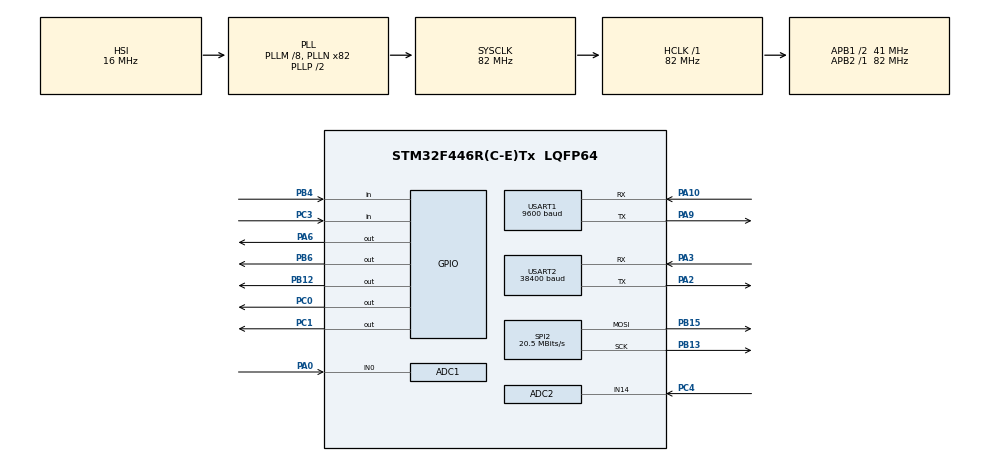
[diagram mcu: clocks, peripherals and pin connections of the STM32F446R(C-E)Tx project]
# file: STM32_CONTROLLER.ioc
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ADC1.Channel-1\#ChannelRegularConversion=ADC_CHANNEL_0
ADC1.NbrOfConversionFlag=1
ADC1.Rank-1\#ChannelRegularConversion=1
ADC1.SamplingTime-1\#ChannelRegularConversion=ADC_SAMPLETIME_3CYCLES
ADC1.master=1
ADC2.Channel-1\#ChannelRegularConversion=ADC_CHANNEL_14
ADC2.NbrOfConversionFlag=1
ADC2.Rank-1\#ChannelRegularConversion=1
ADC2.SamplingTime-1\#ChannelRegularConversion=ADC_SAMPLETIME_3CYCLES
Dma.Request0=USART1_RX
Dma.USART1_RX.0.Direction=DMA_PERIPH_TO_MEMORY
Dma.USART1_RX.0.FIFOMode=DMA_FIFOMODE_DISABLE
Dma.USART1_RX.0.Instance=DMA2_Stream2
Dma.USART1_RX.0.MemDataAlignment=DMA_MDATAALIGN_BYTE
Dma.USART1_RX.0.MemInc=DMA_MINC_ENABLE
Dma.USART1_RX.0.Mode=DMA_NORMAL
Dma.USART1_RX.0.PeriphDataAlignment=DMA_PDATAALIGN_BYTE
Dma.USART1_RX.0.PeriphInc=DMA_PINC_DISABLE
Dma.USART1_RX.0.Priority=DMA_PRIORITY_LOW
Mcu.Family=STM32F4
Mcu.Name=STM32F446R(C-E)Tx
Mcu.Package=LQFP64
NVIC.DMA2_Stream2_IRQn=true\:0\:0\:false\:false\:true\:false\:true\:true
NVIC.PriorityGroup=NVIC_PRIORITYGROUP_4
NVIC.TIM1_UP_TIM10_IRQn=true\:0\:0\:false\:false\:true\:true\:true\:true
NVIC.TIM3_IRQn=true\:0\:0\:false\:false\:true\:true\:true\:true
NVIC.USART2_IRQn=true\:0\:0\:false\:false\:true\:true\:true\:true
PA0-WKUP.Signal=ADCx_IN0
PA10.Mode=Asynchronous
PA10.Signal=USART1_RX
PA2.Mode=Asynchronous
PA2.Signal=USART2_TX
PA3.Mode=Asynchronous
PA3.Signal=USART2_RX
PA6.Signal=GPIO_Output
PA9.Mode=Asynchronous
PA9.Signal=USART1_TX
PB12.Signal=GPIO_Output
PB13.Mode=TX_Only_Simplex_Unidirect_Master
PB13.Signal=SPI2_SCK
PB15.Mode=TX_Only_Simplex_Unidirect_Master
PB15.Signal=SPI2_MOSI
PB4.GPIO_PuPd=GPIO_PULLUP
PB4.Signal=GPIO_Input
PB6.Signal=GPIO_Output
PC0.Signal=GPIO_Output
PC1.Signal=GPIO_Output
PC3.GPIO_PuPd=GPIO_PULLUP
PC3.Signal=GPIO_Input
PC4.Signal=ADCx_IN14
ProjectManager.HeapSize=0x200
ProjectManager.StackSize=0x400
ProjectManager.TargetToolchain=STM32CubeIDE
RCC.AHBFreq_Value=82000000
RCC.APB1CLKDivider=RCC_HCLK_DIV2
RCC.APB1Freq_Value=41000000
RCC.APB1TimFreq_Value=82000000
RCC.APB2Freq_Value=82000000
RCC.APB2TimFreq_Value=82000000
RCC.CortexFreq_Value=82000000
RCC.HCLKFreq_Value=82000000
RCC.PLLM=8
RCC.PLLN=82
RCC.SYSCLKFreq_VALUE=82000000
RCC.SYSCLKSource=RCC_SYSCLKSOURCE_PLLCLK
RCC.USBFreq_Value=82000000
RCC.VCOOutputFreq_Value=164000000
SH.ADCx_IN0.0=ADC1_IN0,IN0
SH.ADCx_IN14.0=ADC2_IN14,IN14
SPI2.CLKPhase=SPI_PHASE_2EDGE
SPI2.CLKPolarity=SPI_POLARITY_HIGH
SPI2.CalculateBaudRate=20.5 MBits/s
SPI2.Direction=SPI_DIRECTION_2LINES
SPI2.Mode=SPI_MODE_MASTER
SPI2.VirtualType=VM_MASTER
TIM1.Period=5000
TIM1.Prescaler=8399
TIM3.Period=9999
TIM3.Prescaler=8399
USART1.BaudRate=9600
USART1.VirtualMode=VM_ASYNC
USART2.BaudRate=38400
USART2.VirtualMode=VM_ASYNC
VP_TIM1_VS_ClockSourceINT.Mode=Internal
VP_TIM3_VS_ClockSourceINT.Mode=Internal
board=custom

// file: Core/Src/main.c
/* USER CODE BEGIN Header */
/**
  ******************************************************************************
  * @file           : main.c
  * @brief          : Main program body
  ******************************************************************************
  * @attention
  *
  * Copyright (c) 2026 STMicroelectronics.
  * All rights reserved.
  *
  * This software is licensed under terms that can be found in the LICENSE file
  * in the root directory of this software component.
  * If no LICENSE file comes with this software, it is provided AS-IS.
  *
  ******************************************************************************
  */
/* USER CODE END Header */
#include "main.h"
#include "adc.h"
#include "dma.h"
#include "spi.h"
#include "tim.h"
#include "usart.h"
#include "gpio.h"
#include "string.h"

/* USER CODE BEGIN Includes */
#include "j_st7789.h"

/* USER CODE END Includes */

/* USER CODE BEGIN PM */
// Slave address 2025:08:004B82

/* USER CODE END PM */

/* USER CODE BEGIN PV */
// uint8_t rx_buf[1]; // Data we receive
// uint8_t tx_buf[1]; // Data to transmit
uint8_t pc_rx_buf[1];
uint8_t hc_rx_buf[1];

volatile union {
  float fnum;
  uint8_t bytes[7];
} FloatPacket; // Float bytes for distance
volatile float fnum_stored = 0;
volatile float sensor_val_stored = 10;
#define SENSOR_DAMP 0.4
#define EXP_SMOOTH(prev_val,new_val,damping_factor) (prev_val * (1-damping_factor) + new_val * (damping_factor));

volatile char metal_detect_flag = 0;
volatile char headlight_flag = 0;

volatile char bt_dat_avail = 0;
volatile char bt_timeout = 0;
volatile uint32_t hal_adc_val = 0; // X
volatile uint32_t hal_adc_val2 = 0; // Y

volatile uint32_t hal1_write_up_prev = 0;
volatile uint32_t hal2_write_up_prev = 0;
volatile uint32_t hal1_write_down_prev = 0;
volatile uint32_t hal2_write_down_prev = 0;
volatile uint8_t hal_combined[4] = {0,0,0,0}; // index 1 {Joystick Data} : index 2 {Headlight Data}
const uint8_t checksum_index = 2;

volatile char headlight_update_debounce = 0;

#define BT_BUF_SIZE 30
#define BG_COL J_BLACK
#define WATCHDOG_BG_COL J_RED

/* USER CODE END PV */

void SystemClock_Config(void);
/* USER CODE BEGIN PFP */

void Reset_DMA_Channel(UART_HandleTypeDef *huart, uint8_t *pData, uint8_t size) {
}

/**
 * @brief generate a checksum for the array given at the checksum index
 *
 * @param arr Array to be sifted through
 * @param chksum_ind index of checksum (must allow for 2 bytes of storage on an array), if less than 0, will not store any value on the array
 *
 */
uint16_t Checksum_Generate(uint8_t* arr, int chksum_ind) {
  // Using fletcher 16 algorithm
  uint8_t s1 = 0;
  uint8_t s2 = 0;
  char do_arr_replacement = 1;
  if(chksum_ind < 0) {
    chksum_ind = chksum_ind * -1;
    do_arr_replacement = 0;
  }
  for(int i = 0; i < chksum_ind; i++) {
    s1 += arr[i];
    s2 += s1;
  }
  if(do_arr_replacement) {
    arr[chksum_ind] = s2;
    arr[chksum_ind+1] = s1;
  }
  return ((uint16_t)s2 << 8) + (uint16_t)s1;
}

void Setup_Main_Screen() {
  set_bounds(0,239,0,239);
  set_bg_col(BG_COL);
  fill_area(get_bg_col());

  fill_text(120,90,"Distance (cm)",13,J_11X18_FONT,J_WHITE,J_CENTER);
}

void BT_Watchdog() {
  if(bt_timeout) {
    bt_dat_avail = 0;
    set_bounds(0,239,0,239);
    set_bg_col(WATCHDOG_BG_COL);
    fill_area(get_bg_col());

    fill_text(120,75,"WATCHDOG",-1,J_16X26_FONT,J_WHITE,J_CENTER);
    fill_text(120,102,"No Bluetooth Signal",-1,J_11X18_FONT,J_WHITE,J_CENTER);
    fill_text(120,125,"Attempting Reconnect...",-1,J_7X10_FONT,J_WHITE,J_CENTER);

    HAL_Delay(15);

    uint8_t rec_index1, rec_index2, rec_flag1, rec_flag2, x_pos, y_pos, width;
    rec_index2 = 0;
    rec_index1 = 1;
    rec_flag1 = 0;
    rec_flag2 = 0;
    x_pos = 100;
    y_pos = 165;
    width = 20;

    // 1. Completely abort the UART reception and reset its state machine to READY
    HAL_UART_AbortReceive(&huart1);

    // 2. Clear any lingering hardware errors caused by the disconnect/static
    __HAL_UART_CLEAR_OREFLAG(&huart1);
    __HAL_UART_CLEAR_FEFLAG(&huart1);
    __HAL_UART_CLEAR_NEFLAG(&huart1);

    HAL_UARTEx_ReceiveToIdle_DMA(&huart1, FloatPacket.bytes, sizeof(FloatPacket.bytes));
    __HAL_DMA_DISABLE_IT(huart1.hdmarx, DMA_IT_HT);

    while(!bt_dat_avail) {
      printf("WATCHDOG | Attempting reconnect...");
      // Wait until bluetooth data is received
      set_bounds(x_pos+rec_flag1*width,x_pos+width*(1+rec_flag1),y_pos+rec_flag2*width,y_pos+width*(1+rec_flag2)); // Loading bar
      fill_area(J_WHITE);
      // HAL_UART_Receive_DMA(&huart1,FloatPacket.bytes,4); // Receive ultrasonic data
      // HAL_UART_DMAStop(&huart1);
      // HAL_UART_Receive_DMA(&huart1,FloatPacket.bytes,sizeof(FloatPacket));
      HAL_UART_Transmit(&huart1,hal_combined,sizeof(hal_combined),100);

      HAL_Delay(50);

      fill_area(get_bg_col());
      rec_index1++;
      rec_index2++;
      if(rec_index1 >= 2) {
        rec_flag1 = !rec_flag1;
        rec_index1 %= 2;
      }
      if(rec_index2 >= 2) {
        rec_flag2 = !rec_flag2;
        rec_index2 %= 2;
      }
      if(huart1.RxState != HAL_UART_STATE_BUSY_RX) {
        HAL_UART_AbortReceive(&huart1);

        __HAL_UART_CLEAR_OREFLAG(&huart1);
        __HAL_UART_CLEAR_FEFLAG(&huart1);
        __HAL_UART_CLEAR_NEFLAG(&huart1);

        HAL_UARTEx_ReceiveToIdle_DMA(&huart1, FloatPacket.bytes, sizeof(FloatPacket.bytes));
        __HAL_DMA_DISABLE_IT(huart1.hdmarx, DMA_IT_HT);
      }
    }
    Setup_Main_Screen();
    if(hal_combined[1]) {
      fill_text(120,40,"Headlight:  ON",14,J_11X18_FONT,J_WHITE,J_CENTER);
    } else {
      fill_text(120,40,"Headlight: OFF",14,J_11X18_FONT,J_WHITE,J_CENTER);
    }

    // Make sure we are back in sync with data
    // HAL_UART_DMAStop(&huart1); // A timeout means unexpected drop in bt connection, we need to disable dma in case of data corruption
    // HAL_Delay(100);
    // memset(FloatPacket.bytes,0,6);
    // HAL_UART_Receive_DMA(&huart1,FloatPacket.bytes,sizeof(FloatPacket));

    __HAL_TIM_SET_COUNTER(&htim3,0); // Reset watchdog timer
    bt_timeout = 0;
  }
}

void HAL_TIM_PeriodElapsedCallback(TIM_HandleTypeDef *htim) {
  if(htim->Instance == TIM3) {
    bt_timeout = 1;
  } else if (htim->Instance == TIM1) {
    headlight_update_debounce = 0;
  }
}

int _write(int file, char *ptr, int len) {
  for(int i = 0; i < len; i++) {
    ITM_SendChar(*ptr++);
  }
  return len;
}
/* USER CODE END PFP */

int main(void)
{

  /* MCU Configuration--------------------------------------------------------*/

  /* Reset of all peripherals, Initializes the Flash interface and the Systick. */
  HAL_Init();

  /* Configure the system clock */
  SystemClock_Config();

  /* Initialize all configured peripherals */
  MX_GPIO_Init();
  MX_DMA_Init();
  MX_ADC2_Init();
  MX_USART1_UART_Init();
  MX_USART2_UART_Init();
  MX_ADC1_Init();
  MX_TIM3_Init();
  MX_SPI2_Init();
  MX_TIM1_Init();
  /* USER CODE BEGIN 2 */
  GPIO_InitTypeDef GPIO_InitStruct = {0};
  GPIO_InitStruct.Pin = GPIO_PIN_10;
  GPIO_InitStruct.Mode = GPIO_MODE_AF_PP;   // Alternate Function Push-Pull
  GPIO_InitStruct.Pull = GPIO_PULLUP;      // This prevents the "float"
  GPIO_InitStruct.Speed = GPIO_SPEED_FREQ_HIGH;
  GPIO_InitStruct.Alternate = GPIO_AF7_USART1; // AF7 is standard for UART on PA10
  HAL_GPIO_Init(GPIOA, &GPIO_InitStruct);
  // HAL_UART_Receive_IT(&huart2, pc_rx_buf, 1);
  // HAL_UART_Receive_IT(&huart1, hc_rx_buf, 1);

  // HAL_UART_Receive_DMA(&huart1,FloatPacket.bytes,sizeof(FloatPacket)); // Receive ultrasonic data

  HAL_UARTEx_ReceiveToIdle_DMA(&huart1,FloatPacket.bytes,sizeof(FloatPacket.bytes));
  __HAL_DMA_DISABLE_IT(huart1.hdmarx,DMA_IT_HT);

  uint8_t cmd_at[] = "AT\r\n";
  uint8_t cmd_role[] = "AT+ADDR?\r\n";  // Setting to Slave
  uint8_t rx_buffer[BT_BUF_SIZE] = {0};

  HAL_TIM_Base_Start_IT(&htim3); // 16-bit bluetooth watchdog timer (currently configured for 1s timeout)
  HAL_TIM_Base_Start_IT(&htim1); // Debounce for headlights

  /* USER CODE END 2 */

  /* Infinite loop */
  /* USER CODE BEGIN WHILE */
  init_lcd(J_270_DEG);
  Setup_Main_Screen();
  fill_text(120,40,"Headlight: OFF",14,J_11X18_FONT,J_WHITE,J_CENTER);

  j_counter my_counter = J_CREATE_COUNTER;

  HAL_GPIO_WritePin(GPIOB,GPIO_PIN_12,GPIO_PIN_SET);
  while (1)
  {
    // printf("Data received: [ ");
    // for(int i = 0; i < sizeof(FloatPacket.bytes); i++) {
    //   printf("%d ", FloatPacket.bytes[i]);
    // }
    // printf("]\n");
    /* USER CODE END WHILE */

    /* USER CODE BEGIN 3 */
    HAL_ADC_Start(&hadc1);
    HAL_ADC_PollForConversion(&hadc1,1000);
    hal_adc_val = HAL_ADC_GetValue(&hadc1);

    HAL_ADC_Start(&hadc2);
    HAL_ADC_PollForConversion(&hadc2,1000);
    hal_adc_val2 = HAL_ADC_GetValue(&hadc2);

    hal_adc_val = (hal_adc_val << 4) >> 12; // cnv from 12-bit to 4-bit
    hal_adc_val2 = (hal_adc_val2 << 4) >> 12;

    hal_combined[0] = ((hal_adc_val << 4) | (hal_adc_val2));

    //hal_combined[0] = 0xF0;

    if(!headlight_update_debounce) {
      if(!(HAL_GPIO_ReadPin(GPIOC,GPIO_PIN_3) && HAL_GPIO_ReadPin(GPIOB,GPIO_PIN_4))) {
        hal_combined[1] = !hal_combined[1]; // Toggle headlight
        headlight_update_debounce = 1;
      }
      __HAL_TIM_SET_COUNTER(&htim1,0);
      printf("HEADLIGHT VAL: %d\n\n", hal_combined[1]);
    }
    Checksum_Generate(hal_combined,sizeof(hal_combined)-2);

    if(headlight_flag) {
      if(!hal_combined[1]) {
        fill_text(120,40,"Headlight: OFF",14,J_11X18_FONT,J_WHITE,J_CENTER);
        headlight_flag = 0;
      }
    } else {
      if(hal_combined[1]) {
        fill_text(120,40,"Headlight:  ON",14,J_11X18_FONT,J_WHITE,J_CENTER);
        headlight_flag = 1;
      }
    }

    HAL_UART_Transmit(&huart1,hal_combined,sizeof(hal_combined),100);
    HAL_Delay(5); // important for IDLE line

    if(bt_dat_avail) {
      bt_dat_avail = 0;
      __HAL_TIM_SET_COUNTER(&htim3,0); // Reset watchdog timer
      // printf("Distance received: [%d %d %d %d] %lf\n",FloatPacket.bytes[0],
      // FloatPacket.bytes[1],
      // FloatPacket.bytes[2],
      // FloatPacket.bytes[3], FloatPacket.fnum);
      // printf("Data received: %lf", fnum_stored);
      // Writing to LCD
      // add_value_sensor(fnum_stored);
      sensor_val_stored = EXP_SMOOTH(sensor_val_stored,fnum_stored,SENSOR_DAMP);
      fill_counter(&my_counter,120,120,sensor_val_stored,J_16X26_FONT,J_WHITE,J_CENTER);

      // Check metal detector
      if(metal_detect_flag) {
        if(FloatPacket.bytes[4] == 0) {
          metal_detect_flag = 0;
          set_bounds(25,214,190,239);
          fill_area(get_bg_col());
        }
      } else {
        if(FloatPacket.bytes[4] == 1) {
          metal_detect_flag = 1;
          fill_text(120,200,"Metal Detected",14,J_11X18_FONT,J_WHITE,J_CENTER);
        }
      }

      int hal_adc_val1_write = (hal_adc_val*8)/7;
      fill_lbar_vert(5,234,hal_adc_val2,hal2_write_up_prev,15,10,230,J_WHITE);
      fill_lbar_vert(224,234,hal_adc_val1_write,hal1_write_up_prev,15,10,230,J_WHITE);
      hal1_write_up_prev = hal_adc_val1_write;
      hal2_write_up_prev = hal_adc_val2;

    }

    // printf("Joystick Vals: %d %d\nHeadlight Val: %d\n\n",hal_adc_val,hal_adc_val2,hal_combined[1]);

    HAL_Delay(10);

    BT_Watchdog();
  }
  /* USER CODE END 3 */
}

void SystemClock_Config(void)
{
  RCC_OscInitTypeDef RCC_OscInitStruct = {0};
  RCC_ClkInitTypeDef RCC_ClkInitStruct = {0};

  /** Configure the main internal regulator output voltage
  */
  __HAL_RCC_PWR_CLK_ENABLE();
  __HAL_PWR_VOLTAGESCALING_CONFIG(PWR_REGULATOR_VOLTAGE_SCALE3);

  /** Initializes the RCC Oscillators according to the specified parameters
  * in the RCC_OscInitTypeDef structure.
  */
  RCC_OscInitStruct.OscillatorType = RCC_OSCILLATORTYPE_HSI;
  RCC_OscInitStruct.HSIState = RCC_HSI_ON;
  RCC_OscInitStruct.HSICalibrationValue = RCC_HSICALIBRATION_DEFAULT;
  RCC_OscInitStruct.PLL.PLLState = RCC_PLL_ON;
  RCC_OscInitStruct.PLL.PLLSource = RCC_PLLSOURCE_HSI;
  RCC_OscInitStruct.PLL.PLLM = 8;
  RCC_OscInitStruct.PLL.PLLN = 82;
  RCC_OscInitStruct.PLL.PLLP = RCC_PLLP_DIV2;
  RCC_OscInitStruct.PLL.PLLQ = 2;
  RCC_OscInitStruct.PLL.PLLR = 2;
  if (HAL_RCC_OscConfig(&RCC_OscInitStruct) != HAL_OK)
  {
    Error_Handler();
  }

  /** Initializes the CPU, AHB and APB buses clocks
  */
  RCC_ClkInitStruct.ClockType = RCC_CLOCKTYPE_HCLK|RCC_CLOCKTYPE_SYSCLK
                              |RCC_CLOCKTYPE_PCLK1|RCC_CLOCKTYPE_PCLK2;
  RCC_ClkInitStruct.SYSCLKSource = RCC_SYSCLKSOURCE_PLLCLK;
  RCC_ClkInitStruct.AHBCLKDivider = RCC_SYSCLK_DIV1;
  RCC_ClkInitStruct.APB1CLKDivider = RCC_HCLK_DIV2;
  RCC_ClkInitStruct.APB2CLKDivider = RCC_HCLK_DIV1;

  if (HAL_RCC_ClockConfig(&RCC_ClkInitStruct, FLASH_LATENCY_2) != HAL_OK)
  {
    Error_Handler();
  }
}

/* USER CODE BEGIN 4 */

void Send_HC_AT_Command(char *str, uint8_t *rx_buf) {
  int i = 0;
  while(str[i]) { // Get length
    i++;
  }
  char local_str[64];
  memset(local_str,0,sizeof(local_str));

  strcpy(local_str,"-- Sending -> ");
  if(i <= 40)
    strcat(local_str,str);

  HAL_UART_Transmit(&huart2, (uint8_t*)local_str, strlen(local_str), 100);
  HAL_UART_Transmit(&huart1, (uint8_t*)str, i, 100);

  memset(rx_buf, 0, BT_BUF_SIZE);

  HAL_UART_Receive(&huart1, rx_buf, BT_BUF_SIZE, 500);
  HAL_UART_Transmit(&huart2, rx_buf, BT_BUF_SIZE, 100);
}

// void HAL_UART_RxCpltCallback(UART_HandleTypeDef *huart)
// {
//   if (huart->Instance == USART1)
//   {
//     bt_dat_avail = 1; // Let main know we have new bluetooth data
//     fnum_stored = FloatPacket.fnum;
//   }
// }

void HAL_UARTEx_RxEventCallback(UART_HandleTypeDef *huart, uint16_t Size) {
  if(huart->Instance == USART1) {
    int fp_size = sizeof(FloatPacket.bytes);
    uint16_t checksum = Checksum_Generate(FloatPacket.bytes,-1 * (fp_size-2));
    if(checksum == ((FloatPacket.bytes[fp_size-2] << 8) + FloatPacket.bytes[fp_size-1])) {
      // Valid data
      bt_dat_avail = 1;
      fnum_stored = FloatPacket.fnum;
      HAL_UARTEx_ReceiveToIdle_DMA(&huart1,FloatPacket.bytes,fp_size);
    } else { // Hunt mode
      for(int i = 0; i < fp_size-1; i++) {
        FloatPacket.bytes[i] = FloatPacket.bytes[i+1];
      }
      HAL_UARTEx_ReceiveToIdle_DMA(&huart1,&FloatPacket.bytes[fp_size-1],1);
    }
    __HAL_DMA_DISABLE_IT(huart->hdmarx,DMA_IT_HT);
  }

}

void HAL_UART_ErrorCallback(UART_HandleTypeDef *huart)
{

    // if(huart->Instance == USART2)
    // {
    //     HAL_UART_Receive_IT(&huart2, pc_rx_buf, 1);
    // }
}
/* USER CODE END 4 */

void Error_Handler(void)
{
  __disable_irq();
  while (1)
  {
  }
}
